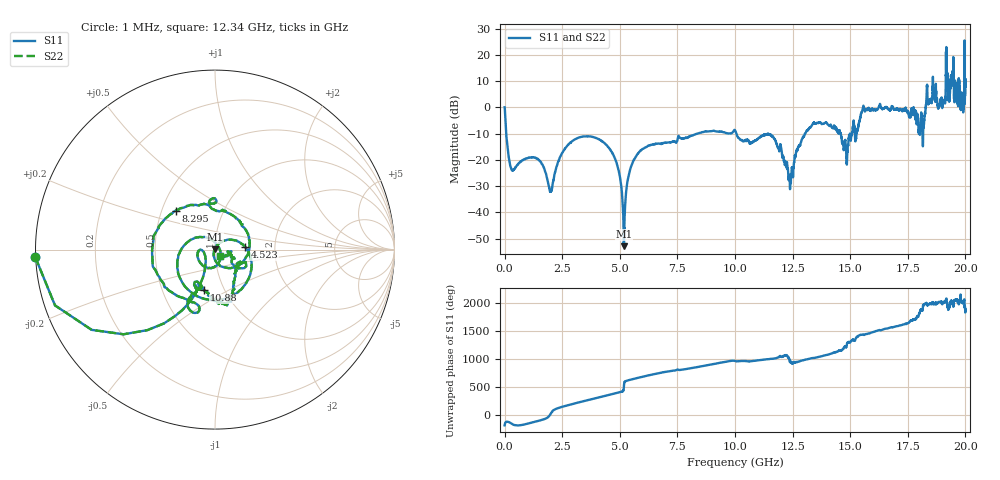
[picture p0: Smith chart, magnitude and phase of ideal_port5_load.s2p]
! Created with skrf (http://scikit-rf.org).
# GHz S RI R 50.0
!freq ReS11 ImS11 ReS21 ImS21 ReS12 ImS12 ReS22 ImS22
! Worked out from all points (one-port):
!   10001 points, 1 MHz to 20 GHz, reference 50 ohm
!   lowest |S11| = -52.9 dB at 5.177 GHz (marker M1), VSWR 1.00, Z = 49.8 + j0.118 ohm
!   |S11| at or under -10 dB: 69.72 MHz to 8.379 GHz (8.309 GHz wide, 197 % of centre); 10.06 GHz to 11.43 GHz (1.366 GHz wide, 12.7 % of centre); 11.44 GHz to 13.04 GHz (1.601 GHz wide, 13.1 % of centre) (the widest 3 of 13)
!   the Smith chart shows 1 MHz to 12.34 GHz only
!   S11 on the Smith chart (normalised r, x): 1 MHz: -0.00, -0.02; 4.523 GHz: 1.41, +0.04; 8.295 GHz: 0.59, +0.28; 10.88 GHz: 0.80, -0.38; 12.34 GHz: 1.05, -0.09
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0.001  -1.002 -0.0407  0 0  0 0  -1.002 -0.0407
1.986901  0.0233 0.00766  0 0  0 0  0.0233 0.00766
3.334833  -0.1224 -0.2456  0 0  0 0  -0.1224 -0.2456
4.522774  0.1693 0.0131  0 0  0 0  0.1693 0.0131
5.176741  -0.00193 0.00119  0 0  0 0  -0.00193 0.00119
6.668667  0.1769 0.0994  0 0  0 0  0.1769 0.0994
8.294585  -0.2195 0.2168  0 0  0 0  -0.2195 0.2168
10.0005  -0.1392 -0.3383  0 0  0 0  -0.1392 -0.3383
10.88446  -0.0611 -0.2261  0 0  0 0  -0.0611 -0.2261
12.33838  0.0243 -0.0412  0 0  0 0  0.0243 -0.0412
13.33433  0.2203 -0.3946  0 0  0 0  0.2203 -0.3946
15.64222  0.8322 -0.00887  0 0  0 0  0.8322 -0.00887
16.66817  -0.3761 0.8266  0 0  0 0  -0.3761 0.8266
17.9441  0.4243 -0.3948  0 0  0 0  0.4243 -0.3948
18.39208  -1.162 0.0737  0 0  0 0  -1.162 0.0737
19.02205  -1.179 -0.3173  0 0  0 0  -1.179 -0.3173
19.11404  -1.079 -0.6529  0 0  0 0  -1.079 -0.6529
19.28404  -0.3451 1.363  0 0  0 0  -0.3451 1.363
19.47003  -3.324 -2.523  0 0  0 0  -3.324 -2.523
19.59402  -0.525 -1.858  0 0  0 0  -0.525 -1.858
19.86201  -1.184 -0.6228  0 0  0 0  -1.184 -0.6228
20  1.089 3.227  0 0  0 0  1.089 3.227
